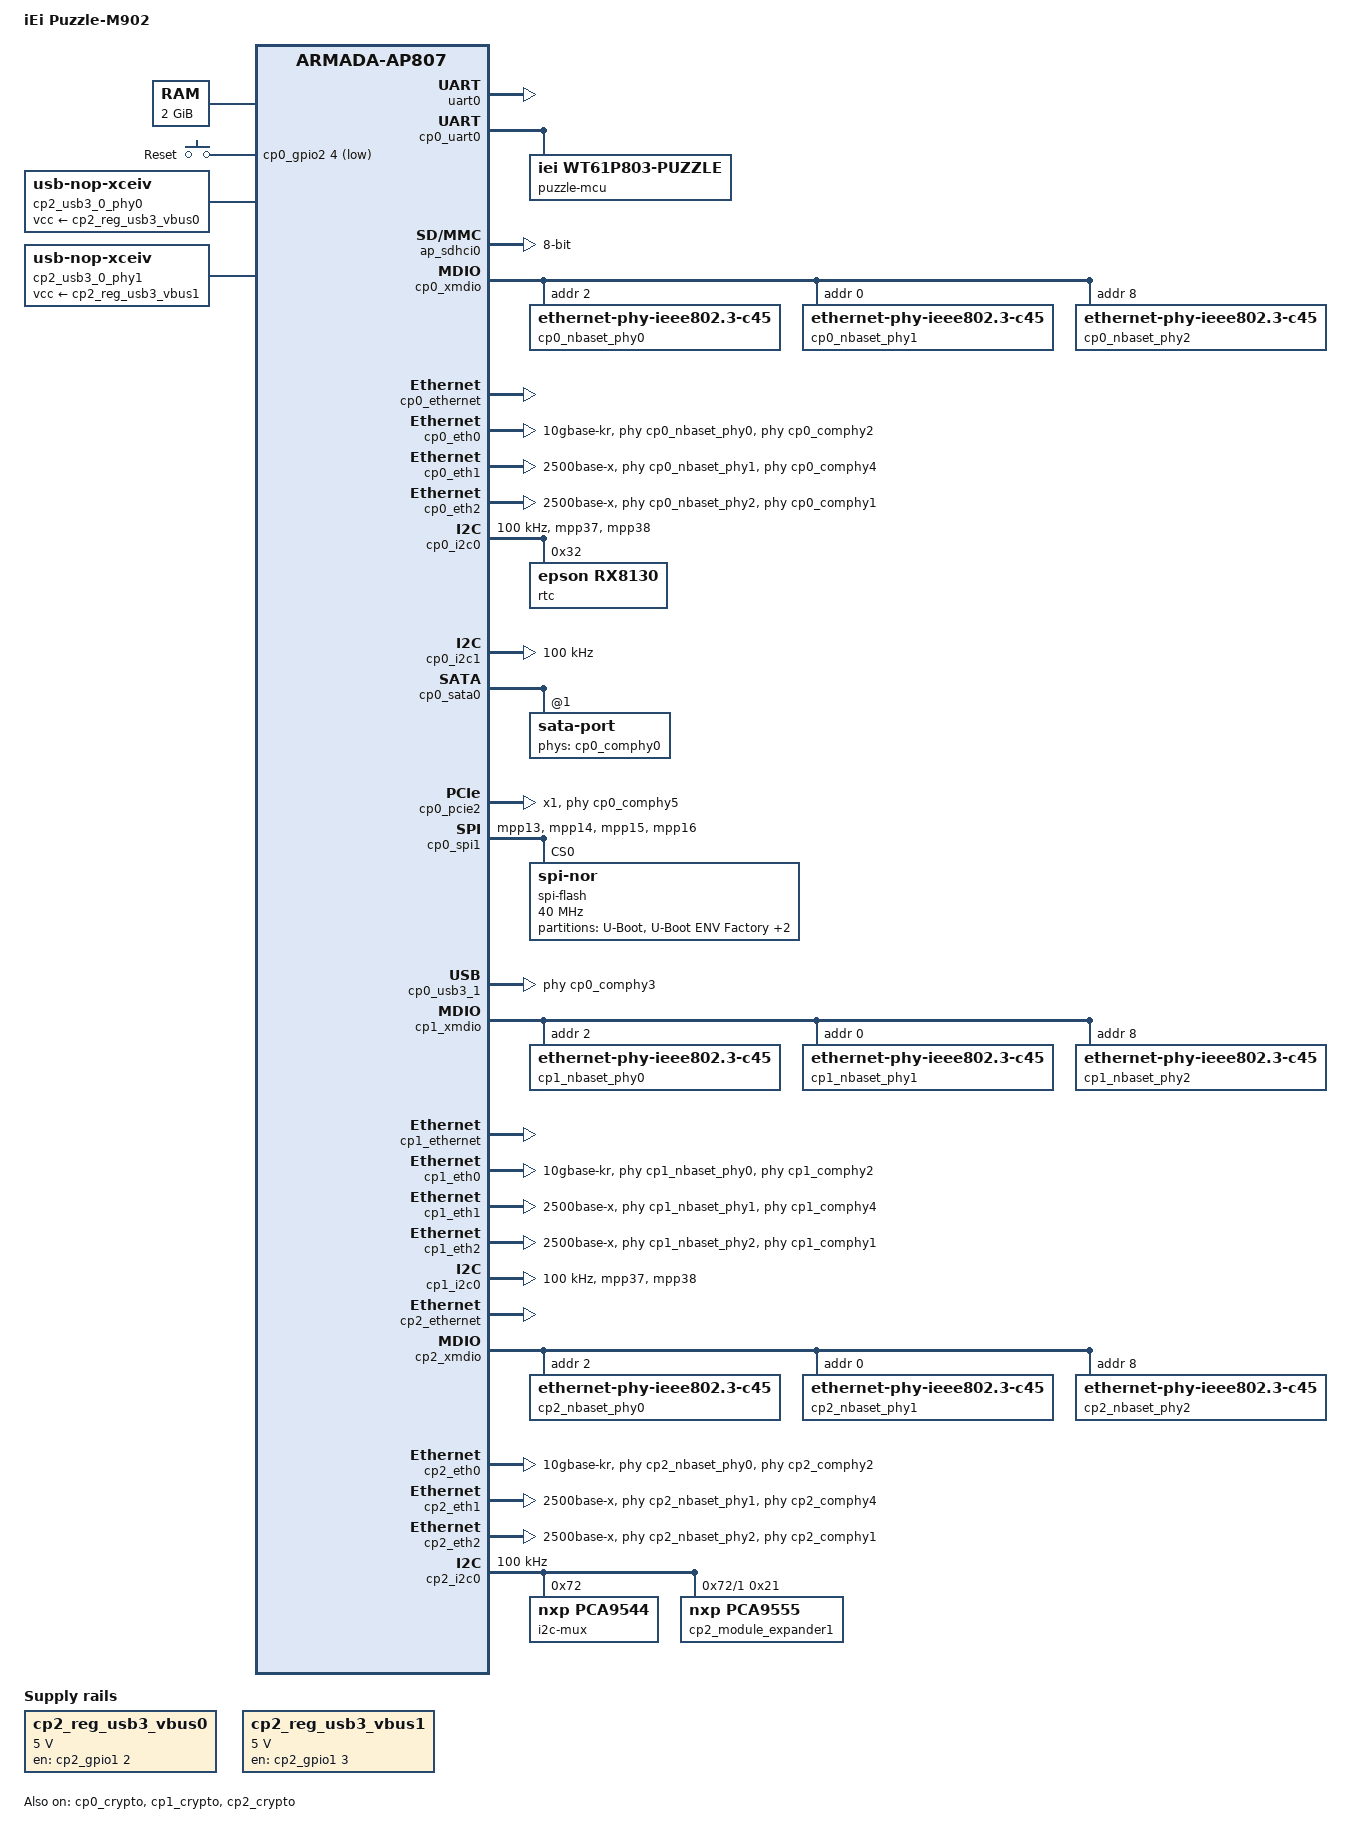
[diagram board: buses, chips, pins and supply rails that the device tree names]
// SPDX-License-Identifier: (GPL-2.0-or-later OR MIT)
/*
 * Copyright (C) 2019 Marvell International Ltd.
 *
 * Device tree for the CN9132-DB board.
 */

#include "cn9130.dtsi"
#include "puzzle-thermal.dtsi"

#include <dt-bindings/gpio/gpio.h>
#include <dt-bindings/input/input.h>
#include <dt-bindings/leds/common.h>

/ {
	model = "iEi Puzzle-M902";
	compatible = "iei,puzzle-m902",
		     "marvell,armada-ap807-quad", "marvell,armada-ap807";

	chosen {
		stdout-path = "serial0:115200n8";
	};

	aliases {
		i2c0 = &cp1_i2c0;
		i2c1 = &cp0_i2c0;
		gpio1 = &cp0_gpio1;
		gpio2 = &cp0_gpio2;
		gpio3 = &cp1_gpio1;
		gpio4 = &cp1_gpio2;
		gpio5 = &cp2_gpio1;
		gpio6 = &cp2_gpio2;
		ethernet0 = &cp0_eth0;
		ethernet1 = &cp0_eth1;
		ethernet2 = &cp0_eth2;
		ethernet3 = &cp1_eth0;
		ethernet4 = &cp1_eth1;
		ethernet5 = &cp1_eth2;
		ethernet6 = &cp2_eth0;
		ethernet7 = &cp2_eth1;
		ethernet8 = &cp2_eth2;
		spi1 = &cp0_spi0;
		spi2 = &cp0_spi1;
		led-boot = &led_power;
		led-failsafe = &led_info;
		led-running = &led_power;
		led-upgrade = &led_info;
	};

	memory@00000000 {
		device_type = "memory";
		reg = <0x0 0x0 0x0 0x80000000>;
	};

	gpio_keys {
		compatible = "gpio-keys";

		reset {
			label = "Reset";
			linux,code = <KEY_RESTART>;
			gpios = <&cp0_gpio2 4 GPIO_ACTIVE_LOW>;
		};
	};

	cp2_reg_usb3_vbus0: cp2_usb3_vbus@0 {
		compatible = "regulator-fixed";
		regulator-name = "cp2-xhci0-vbus";
		regulator-min-microvolt = <5000000>;
		regulator-max-microvolt = <5000000>;
		enable-active-high;
		gpios = <&cp2_gpio1 2 GPIO_ACTIVE_HIGH>;
	};

	cp2_usb3_0_phy0: cp2_usb3_phy0 {
		compatible = "usb-nop-xceiv";
		vcc-supply = <&cp2_reg_usb3_vbus0>;
	};

	cp2_reg_usb3_vbus1: cp2_usb3_vbus@1 {
		compatible = "regulator-fixed";
		regulator-name = "cp2-xhci1-vbus";
		regulator-min-microvolt = <5000000>;
		regulator-max-microvolt = <5000000>;
		enable-active-high;
		gpios = <&cp2_gpio1 3 GPIO_ACTIVE_HIGH>;
	};

	cp2_usb3_0_phy1: cp2_usb3_phy1 {
		compatible = "usb-nop-xceiv";
		vcc-supply = <&cp2_reg_usb3_vbus1>;
	};

	cp2_sfp_eth0: sfp-eth0 {
		compatible = "sff,sfp";
		i2c-bus = <&cp2_sfpp0_i2c>;
		los-gpio = <&cp2_module_expander1 11 GPIO_ACTIVE_HIGH>;
		mod-def0-gpio = <&cp2_module_expander1 10 GPIO_ACTIVE_LOW>;
		tx-disable-gpio = <&cp2_module_expander1 9 GPIO_ACTIVE_HIGH>;
		tx-fault-gpio = <&cp2_module_expander1 8 GPIO_ACTIVE_HIGH>;
		status = "disabled";
	};

	thermal-zones {
		chassis0-thermal {
			thermal-sensors = <&puzzle_hwmon 0>;
			PUZZLE_FAN_CHASSIS_THERMAL(chassis0, &chassis_fan_group0);
		};

		chassis1-thermal {
			thermal-sensors = <&puzzle_hwmon 1>;
			PUZZLE_FAN_CHASSIS_THERMAL(chassis1, &chassis_fan_group0);
		};

		cp0-phy0-thermal {
			thermal-sensors = <&cp0_nbaset_phy0>;
			PUZZLE_FAN_THERMAL(cp0_phy0, &chassis_fan_group0);
		};

		cp0-phy1-thermal {
			thermal-sensors = <&cp0_nbaset_phy1>;
			PUZZLE_FAN_THERMAL(cp0_phy1, &chassis_fan_group0);
		};

		cp0-phy2-thermal {
			thermal-sensors = <&cp0_nbaset_phy2>;
			PUZZLE_FAN_THERMAL(cp0_phy2, &chassis_fan_group0);
		};

		cp1-phy0-thermal {
			thermal-sensors = <&cp1_nbaset_phy0>;
			PUZZLE_FAN_THERMAL(cp1_phy0, &chassis_fan_group0);
		};

		cp1-phy1-thermal {
			thermal-sensors = <&cp1_nbaset_phy1>;
			PUZZLE_FAN_THERMAL(cp1_phy1, &chassis_fan_group0);
		};

		cp1-phy2-thermal {
			thermal-sensors = <&cp1_nbaset_phy2>;
			PUZZLE_FAN_THERMAL(cp1_phy2, &chassis_fan_group0);
		};

		cp2-phy0-thermal {
			thermal-sensors = <&cp2_nbaset_phy0>;
			PUZZLE_FAN_THERMAL(cp2_phy0, &chassis_fan_group0);
		};

		cp2-phy1-thermal {
			thermal-sensors = <&cp2_nbaset_phy1>;
			PUZZLE_FAN_THERMAL(cp2_phy1, &chassis_fan_group0);
		};

		cp2-phy2-thermal {
			thermal-sensors = <&cp2_nbaset_phy2>;
			PUZZLE_FAN_THERMAL(cp2_phy2, &chassis_fan_group0);
		};
	};

};

&uart0 {
	status = "okay";
};

&cp0_uart0 {
	status = "okay";

	puzzle-mcu {
		compatible = "iei,wt61p803-puzzle";
		#address-cells = <1>;
		#size-cells = <1>;
		current-speed = <115200>;
		enable-beep;
		status = "okay";

		leds {
			compatible = "iei,wt61p803-puzzle-leds";
			#address-cells = <1>;
			#size-cells = <0>;
			status = "okay";

			led@0 {
				reg = <0>;
				label = "white:network";
				active-low;
			};

			led@1 {
				reg = <1>;
				label = "green:cloud";
				active-low;
			};

			led_info: led@2 {
				reg = <2>;
				label = "orange:info";
				active-low;
			};

			led_power: led@3 {
				reg = <3>;
				function = LED_FUNCTION_POWER;
				color = <LED_COLOR_ID_YELLOW>;
				active-low;
				default-state = "on";
			};
		};

		puzzle_hwmon: hwmon {
			compatible = "iei,wt61p803-puzzle-hwmon";
			#address-cells = <1>;
			#size-cells = <0>;
			#thermal-sensor-cells = <1>;

			chassis_fan_group0: fan-group@0 {
				#cooling-cells = <2>;
				reg = <0x00>;
				cooling-levels = <0 159 195 211 223 241 255>;
			};
		};
	};
};

/* on-board eMMC - U9 */
&ap_sdhci0 {
	pinctrl-names = "default";
	bus-width = <8>;
	status = "okay";
	mmc-ddr-1_8v;
	mmc-hs400-1_8v;
};

&cp0_crypto {
	status = "okay";
};

&cp0_xmdio {
	status = "okay";
	cp0_nbaset_phy0: ethernet-phy@2 {
		compatible = "ethernet-phy-ieee802.3-c45";
		reg = <2>;
		#thermal-sensor-cells = <0>;
	};
	cp0_nbaset_phy1: ethernet-phy@0 {
		compatible = "ethernet-phy-ieee802.3-c45";
		reg = <0>;
		#thermal-sensor-cells = <0>;
	};
	cp0_nbaset_phy2: ethernet-phy@8 {
		compatible = "ethernet-phy-ieee802.3-c45";
		reg = <8>;
		#thermal-sensor-cells = <0>;
	};
};

&cp0_ethernet {
	status = "okay";
};

/* SLM-1521-V2, CON9 */
&cp0_eth0 {
	status = "okay";
	phy-mode = "10gbase-kr";
	phys = <&cp0_comphy2 0>;
	phy = <&cp0_nbaset_phy0>;
};

&cp0_eth1 {
	status = "okay";
	phy-mode = "2500base-x";
	phys = <&cp0_comphy4 1>;
	phy = <&cp0_nbaset_phy1>;
};

&cp0_eth2 {
	status = "okay";
	phy-mode = "2500base-x";
	phys = <&cp0_comphy1 2>;
	phy = <&cp0_nbaset_phy2>;
};

&cp0_gpio1 {
	status = "okay";
};

&cp0_gpio2 {
	status = "okay";
};

&cp0_i2c0 {
	pinctrl-names = "default";
	pinctrl-0 = <&cp0_i2c0_pins>;
	status = "okay";
	clock-frequency = <100000>;
	rtc@32 {
		compatible = "epson,rx8130";
		reg = <0x32>;
		wakeup-source;
	};
};

&cp0_i2c1 {
	clock-frequency = <100000>;
};

/* SLM-1521-V2, CON6 */
&cp0_sata0 {
	status = "okay";
	sata-port@1 {
		status = "okay";
		phys = <&cp0_comphy0 1>;
	};
};

&cp0_pcie2 {
	status = "okay";
	num-lanes = <1>;
	num-viewport = <8>;
	phys = <&cp0_comphy5 2>;
};

/* U55 */
&cp0_spi1 {
	pinctrl-names = "default";
	pinctrl-0 = <&cp0_spi0_pins>;
	reg = <0x700680 0x50>,          /* control */
	      <0x2000000 0x1000000>;    /* CS0 */
	status = "okay";
	spi-flash@0 {
		#address-cells = <0x1>;
		#size-cells = <0x1>;
		compatible = "jedec,spi-nor";
		reg = <0x0>;
		spi-max-frequency = <40000000>;
		partitions {
			compatible = "fixed-partitions";
			#address-cells = <1>;
			#size-cells = <1>;
			partition@0 {
				label = "U-Boot";
				reg = <0x0 0x1f0000>;
			};
			partition@1f0000 {
				label = "U-Boot ENV Factory";
				reg = <0x1f0000 0x10000>;
			};
			partition@200000 {
				label = "Reserved";
				reg = <0x200000 0x1f0000>;
			};
			partition@3f0000 {
				label = "U-Boot ENV";
				reg = <0x3f0000 0x10000>;
			};
		};
	};
};

&cp0_rtc {
	status = "disabled";
};

&cp0_syscon0 {
	cp0_pinctrl: pinctrl {
		compatible = "marvell,cp115-standalone-pinctrl";
		cp0_i2c0_pins: cp0-i2c-pins-0 {
			marvell,pins = "mpp37", "mpp38";
			marvell,function = "i2c0";
		};
		cp0_i2c1_pins: cp0-i2c-pins-1 {
			marvell,pins = "mpp35", "mpp36";
			marvell,function = "i2c1";
		};
		cp0_ge1_rgmii_pins: cp0-ge-rgmii-pins-0 {
			marvell,pins = "mpp0", "mpp1", "mpp2",
				       "mpp3", "mpp4", "mpp5",
				       "mpp6", "mpp7", "mpp8",
				       "mpp9", "mpp10", "mpp11";
			marvell,function = "ge0";
		};
		cp0_ge2_rgmii_pins: cp0-ge-rgmii-pins-1 {
			marvell,pins = "mpp44", "mpp45", "mpp46",
				       "mpp47", "mpp48", "mpp49",
				       "mpp50", "mpp51", "mpp52",
				       "mpp53", "mpp54", "mpp55";
			marvell,function = "ge1";
		};
		cp0_spi0_pins: cp0-spi-pins-0 {
			marvell,pins = "mpp13", "mpp14", "mpp15", "mpp16";
			marvell,function = "spi1";
		};
	};
};

&cp0_usb3_1 {
	status = "okay";
	phys = <&cp0_comphy3 1>;
	phy-names = "usb";
};

/*
 * Instantiate the first connected CP115
 */

#define CP11X_NAME		cp1
#define CP11X_BASE		f4000000
#define CP11X_PCIEx_MEM_BASE(iface) (0xe2000000 + (iface * 0x1000000))
#define CP11X_PCIEx_MEM_SIZE(iface) 0xf00000
#define CP11X_PCIE0_BASE	f4600000
#define CP11X_PCIE1_BASE	f4620000
#define CP11X_PCIE2_BASE	f4640000

#include "armada-cp115.dtsi"

#undef CP11X_NAME
#undef CP11X_BASE
#undef CP11X_PCIEx_MEM_BASE
#undef CP11X_PCIEx_MEM_SIZE
#undef CP11X_PCIE0_BASE
#undef CP11X_PCIE1_BASE
#undef CP11X_PCIE2_BASE

&cp1_crypto {
	status = "okay";
};

&cp1_xmdio {
	status = "okay";
	cp1_nbaset_phy0: ethernet-phy@2 {
		compatible = "ethernet-phy-ieee802.3-c45";
		reg = <2>;
		#thermal-sensor-cells = <0>;
	};
	cp1_nbaset_phy1: ethernet-phy@0 {
		compatible = "ethernet-phy-ieee802.3-c45";
		reg = <0>;
		#thermal-sensor-cells = <0>;
	};
	cp1_nbaset_phy2: ethernet-phy@8 {
		compatible = "ethernet-phy-ieee802.3-c45";
		reg = <8>;
		#thermal-sensor-cells = <0>;
	};
};

&cp1_ethernet {
	status = "okay";
};

/* CON50 */
&cp1_eth0 {
	status = "okay";
	phy-mode = "10gbase-kr";
	phys = <&cp1_comphy2 0>;
	phy = <&cp1_nbaset_phy0>;
};

&cp1_eth1 {
	status = "okay";
	phy-mode = "2500base-x";
	phys = <&cp1_comphy4 1>;
	phy = <&cp1_nbaset_phy1>;
};

&cp1_eth2 {
	status = "okay";
	phy-mode = "2500base-x";
	phys = <&cp1_comphy1 2>;
	phy = <&cp1_nbaset_phy2>;
};

&cp1_gpio1 {
	status = "okay";
};

&cp1_gpio2 {
	status = "okay";
};

&cp1_i2c0 {
	status = "okay";
	pinctrl-names = "default";
	pinctrl-0 = <&cp1_i2c0_pins>;
	clock-frequency = <100000>;
};

&cp1_rtc {
	status = "disabled";
};

&cp1_syscon0 {
	cp1_pinctrl: pinctrl {
		compatible = "marvell,cp115-standalone-pinctrl";
		cp1_i2c0_pins: cp1-i2c-pins-0 {
			marvell,pins = "mpp37", "mpp38";
			marvell,function = "i2c0";
		};
		cp1_spi0_pins: cp1-spi-pins-0 {
			marvell,pins = "mpp13", "mpp14", "mpp15", "mpp16";
			marvell,function = "spi1";
		};
		cp1_xhci0_vbus_pins: cp1-xhci0-vbus-pins {
			marvell,pins = "mpp3";
			marvell,function = "gpio";
		};
	};
};

/*
 * Instantiate the second connected CP115
 */

#define CP11X_NAME		cp2
#define CP11X_BASE		f6000000
#define CP11X_PCIEx_MEM_BASE(iface) (0xe5000000 + (iface * 0x1000000))
#define CP11X_PCIEx_MEM_SIZE(iface) 0xf00000
#define CP11X_PCIE0_BASE	f6600000
#define CP11X_PCIE1_BASE	f6620000
#define CP11X_PCIE2_BASE	f6640000

#include "armada-cp115.dtsi"

#undef CP11X_NAME
#undef CP11X_BASE
#undef CP11X_PCIEx_MEM_BASE
#undef CP11X_PCIEx_MEM_SIZE
#undef CP11X_PCIE0_BASE
#undef CP11X_PCIE1_BASE
#undef CP11X_PCIE2_BASE

&cp2_crypto {
	status = "okay";
};

&cp2_ethernet {
	status = "okay";
};

&cp2_xmdio {
	status = "okay";
	cp2_nbaset_phy0: ethernet-phy@2 {
		compatible = "ethernet-phy-ieee802.3-c45";
		reg = <2>;
		#thermal-sensor-cells = <0>;
	};
	cp2_nbaset_phy1: ethernet-phy@0 {
		compatible = "ethernet-phy-ieee802.3-c45";
		reg = <0>;
		#thermal-sensor-cells = <0>;
	};
	cp2_nbaset_phy2: ethernet-phy@8 {
		compatible = "ethernet-phy-ieee802.3-c45";
		reg = <8>;
		#thermal-sensor-cells = <0>;
	};
};

/* SLM-1521-V2, CON9 */
&cp2_eth0 {
	status = "okay";
	phy-mode = "10gbase-kr";
	phys = <&cp2_comphy2 0>;
	phy = <&cp2_nbaset_phy0>;
};

&cp2_eth1 {
	status = "okay";
	phy-mode = "2500base-x";
	phys = <&cp2_comphy4 1>;
	phy = <&cp2_nbaset_phy1>;
};

&cp2_eth2 {
	status = "okay";
	phy-mode = "2500base-x";
	phys = <&cp2_comphy1 2>;
	phy = <&cp2_nbaset_phy2>;
};

&cp2_gpio1 {
	status = "okay";
};

&cp2_gpio2 {
	status = "okay";
};

&cp2_i2c0 {
	clock-frequency = <100000>;
	/* SLM-1521-V2 - U3 */
	i2c-mux@72 {
		compatible = "nxp,pca9544";
		#address-cells = <1>;
		#size-cells = <0>;
		reg = <0x72>;
		cp2_sfpp0_i2c: i2c@0 {
			#address-cells = <1>;
			#size-cells = <0>;
			reg = <0>;
		};

		i2c@1 {
			#address-cells = <1>;
			#size-cells = <0>;
			reg = <1>;
			/* U12 */
			cp2_module_expander1: pca9555@21 {
				compatible = "nxp,pca9555";
				pinctrl-names = "default";
				gpio-controller;
				#gpio-cells = <2>;
				reg = <0x21>;
			};
		};
	};
};

&cp2_rtc {
	status = "disabled";
};

&cp2_syscon0 {
	cp2_pinctrl: pinctrl {
		compatible = "marvell,cp115-standalone-pinctrl";
		cp2_i2c0_pins: cp2-i2c-pins-0 {
			marvell,pins = "mpp37", "mpp38";
			marvell,function = "i2c0";
		};
	};
};
